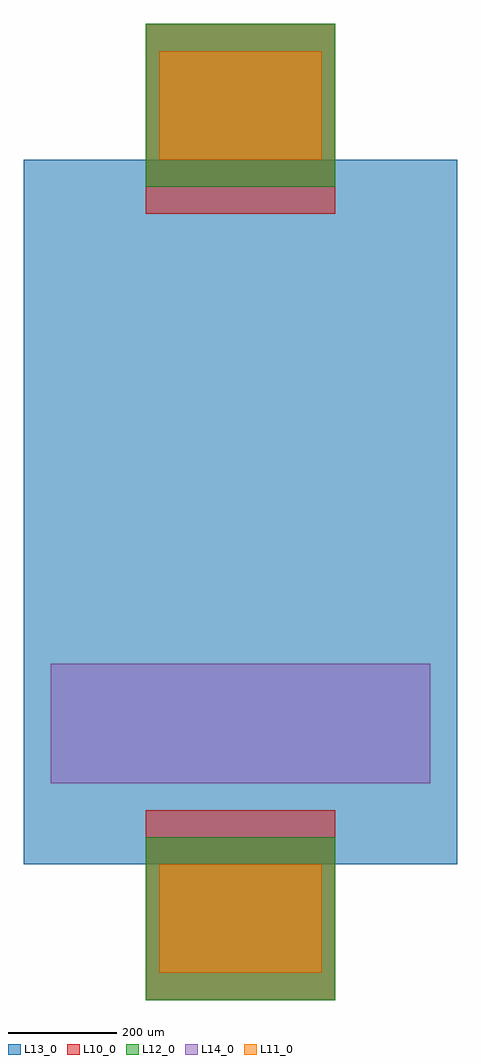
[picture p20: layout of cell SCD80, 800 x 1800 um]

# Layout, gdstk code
import gdstk
lib = gdstk.Library(unit=1e-6, precision=1e-09)
def R(c, l, rs):  # rectangles x0, y0, x1, y1
    for r in rs: c.add(gdstk.rectangle(r[:2], r[2:], *l))
L10_0 = (10, 0)
L11_0 = (11, 0)
L12_0 = (12, 0)
L13_0 = (13, 0)
L14_0 = (14, 0)

scd80 = lib.new_cell('SCD80')
R(scd80, L10_0, [(-175,-900,175,-550), (-175,550,175,900)])
R(scd80, L11_0, [(-150,-850,150,-650), (-150,650,150,850)])
R(scd80, L12_0, [(-175,-900,175,-600), (-175,600,175,900)])
R(scd80, L13_0, [(-400,-650,400,650)])
R(scd80, L14_0, [(-350,-500,350,-280)])

lib.write_gds('SCD80.gds')
